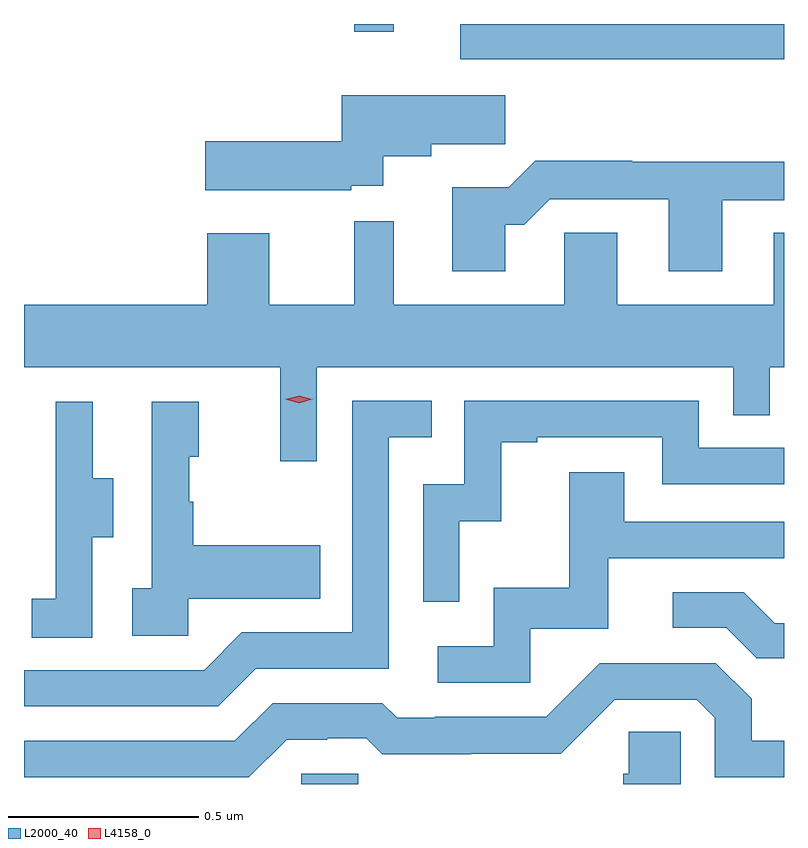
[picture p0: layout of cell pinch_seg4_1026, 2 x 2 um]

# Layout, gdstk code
import gdstk
lib = gdstk.Library(unit=1e-6, precision=1e-09)
def R(c, l, rs):  # rectangles x0, y0, x1, y1
    for r in rs: c.add(gdstk.rectangle(r[:2], r[2:], *l))
def P(c, l, *ps):  # polygons
    for p in ps: c.add(gdstk.Polygon(p, *l))
L2000_40 = (2000, 40)
L4158_0 = (4158, 0)

pinch_seg4_1026 = lib.new_cell('pinch_seg4_1026')
R(pinch_seg4_1026, L2000_40, [(800.619,773.079,800.769,773.106), (801.038,774.986,801.89,775.079), (800.759,775.059,800.863,775.079)])
P(pinch_seg4_1026, L2000_40, [(800.751,774.653),(800.836,774.653),(800.836,774.731),(800.962,774.731),(800.962,774.763),(801.157,774.763),(801.157,774.892),(800.726,774.892),(800.726,774.771),(800.367,774.771),(800.367,774.641),(800.751,774.641)],
  [(801.157,774.551),(801.206,774.551),(801.273,774.618),(801.587,774.618),(801.587,774.429),(801.727,774.429),(801.727,774.615),(801.89,774.615),(801.89,774.716),(801.491,774.716),(801.491,774.719),(801.236,774.719),(801.166,774.649),(801.017,774.649),(801.017,774.429),(801.157,774.429)],
  [(800.661,774.176),(801.756,774.176),(801.756,774.049),(801.852,774.049),(801.852,774.176),(801.89,774.176),(801.89,774.53),(801.863,774.53),(801.863,774.34),(801.451,774.34),(801.451,774.53),(801.312,774.53),(801.312,774.34),(800.863,774.34),(800.863,774.56),(800.759,774.56),(800.759,774.34),(800.536,774.34),(800.536,774.529),(800.372,774.529),(800.372,774.34),(799.89,774.34),(799.89,774.176),(800.564,774.176),(800.564,773.928),(800.661,773.928)],
  [(801.036,773.771),(801.146,773.771),(801.146,773.979),(801.241,773.979),(801.241,773.991),(801.57,773.991),(801.57,773.868),(801.89,773.868),(801.89,773.964),(801.666,773.964),(801.666,774.087),(801.048,774.087),(801.048,773.868),(800.94,773.868),(800.94,773.559),(801.036,773.559)],
  [(800.5,773.382),(800.85,773.382),(800.85,773.991),(800.963,773.991),(800.963,774.087),(800.754,774.087),(800.754,773.478),(800.463,773.478),(800.364,773.379),(799.89,773.379),(799.89,773.283),(800.401,773.283)],
  [(800.07,773.728),(800.125,773.728),(800.125,773.883),(800.071,773.883),(800.071,774.085),(799.973,774.085),(799.973,773.871),(799.974,773.871),(799.974,773.567),(799.911,773.567),(799.911,773.464),(800.07,773.464)],
  [(800.322,773.567),(800.669,773.567),(800.669,773.707),(800.335,773.707),(800.335,773.822),(800.325,773.822),(800.325,773.94),(800.35,773.94),(800.35,774.085),(800.226,774.085),(800.226,773.594),(800.175,773.594),(800.175,773.469),(800.322,773.469)],
  [(801.222,773.487),(801.427,773.487),(801.427,773.673),(801.89,773.673),(801.89,773.769),(801.469,773.769),(801.469,773.899),(801.325,773.899),(801.325,773.596),(801.126,773.596),(801.126,773.442),(800.979,773.442),(800.979,773.346),(801.222,773.346)],
  [(801.89,773.502),(801.865,773.502),(801.784,773.583),(801.597,773.583),(801.597,773.49),(801.738,773.49),(801.818,773.41),(801.89,773.41)],
  [(800.581,773.196),(800.688,773.196),(800.688,773.199),(800.791,773.199),(800.833,773.157),(801.066,773.157),(801.066,773.159),(801.302,773.159),(801.444,773.301),(801.66,773.301),(801.708,773.253),(801.708,773.097),(801.89,773.097),(801.89,773.193),(801.805,773.193),(801.805,773.303),(801.711,773.397),(801.405,773.397),(801.264,773.256),(800.971,773.256),(800.971,773.253),(800.872,773.253),(800.833,773.292),(800.544,773.292),(800.445,773.193),(799.89,773.193),(799.89,773.097),(800.482,773.097)],
  [(801.618,773.216),(801.481,773.216),(801.481,773.106),(801.467,773.106),(801.467,773.079),(801.618,773.079)])
P(pinch_seg4_1026, L4158_0, [(800.614,774.081),(800.578,774.091),(800.578,774.091),(800.578,774.092),(800.614,774.101),(800.649,774.092),(800.65,774.091),(800.649,774.091)])

lib.write_gds('pinch_seg4_1026.gds')
